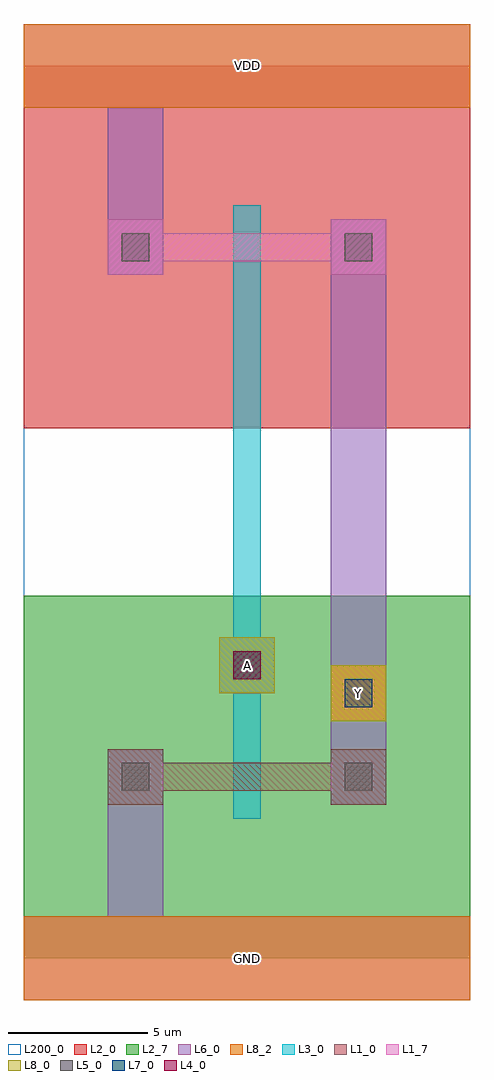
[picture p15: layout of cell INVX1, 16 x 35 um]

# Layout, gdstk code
import gdstk
lib = gdstk.Library(unit=1e-6, precision=1e-09)
def R(c, l, rs):  # rectangles x0, y0, x1, y1
    for r in rs: c.add(gdstk.rectangle(r[:2], r[2:], *l))
def P(c, l, *ps):  # polygons
    for p in ps: c.add(gdstk.Polygon(p, *l))
L1_0 = (1, 0)
L1_7 = (1, 7)
L2_0 = (2, 0)
L2_7 = (2, 7)
L3_0 = (3, 0)
L4_0 = (4, 0)
L5_0 = (5, 0)
L6_0 = (6, 0)
L7_0 = (7, 0)
L8_0 = (8, 0)
L8_2 = (8, 2)
L200_0 = (200, 0)

invx1 = lib.new_cell('INVX1')
P(invx1, L1_0, [(3,5.5),(3,7.5),(5,7.5),(5,7),(11,7),(11,7.5),(13,7.5),(13,5.5),(11,5.5),(11,6),(5,6),(5,5.5)])
P(invx1, L1_7, [(3,24.5),(3,26.5),(5,26.5),(5,26),(11,26),(11,26.5),(13,26.5),(13,24.5),(11,24.5),(11,25),(5,25),(5,24.5)])
R(invx1, L2_0, [(0,19,16,32)])
R(invx1, L2_7, [(0,0,16,13)])
P(invx1, L3_0, [(7.5,5),(7.5,9.5),(7,9.5),(7,11.5),(7.5,11.5),(7.5,27),(8.5,27),(8.5,11.5),(9,11.5),(9,9.5),(8.5,9.5),(8.5,5)])
R(invx1, L4_0, [(7.5,10,8.5,11)])
R(invx1, L5_0, [(3.5,6,4.5,7), (11.5,6,12.5,7), (3.5,25,4.5,26), (11.5,25,12.5,26)])
R(invx1, L6_0, [(11,5.5,13,26.5), (7,9.5,9,11.5)])
P(invx1, L6_0, [(0,-1.5),(0,1.5),(3,1.5),(3,7.5),(5,7.5),(5,1.5),(16,1.5),(16,-1.5)],
  [(3,24.5),(3,30.5),(0,30.5),(0,33.5),(16,33.5),(16,30.5),(5,30.5),(5,24.5)])
R(invx1, L7_0, [(11.5,9,12.5,10), (7.5,10,8.5,11)])
R(invx1, L8_0, [(11,8.5,13,10.5), (7,9.5,9,11.5)])
R(invx1, L8_2, [(11,8.5,13,10.5), (7,9.5,9,11.5)])
R(invx1, L200_0, [(0,0,16,32)])
invx1.add(gdstk.FlexPath([(0,32),(16,32)], 3, ends="flush", simple_path=True, layer=8, datatype=2))  # L8_2
invx1.add(gdstk.FlexPath([(0,0),(16,0)], 3, ends="flush", simple_path=True, layer=8, datatype=2))  # L8_2
invx1.add(gdstk.Label('GND', (8,0), layer=6, texttype=1))
invx1.add(gdstk.Label('VDD', (8,32), layer=6, texttype=1))
invx1.add(gdstk.Label('A', (8,10.5), layer=8, texttype=1))
invx1.add(gdstk.Label('Y', (12,9.5), layer=8, texttype=1))

lib.write_gds('INVX1.gds')
